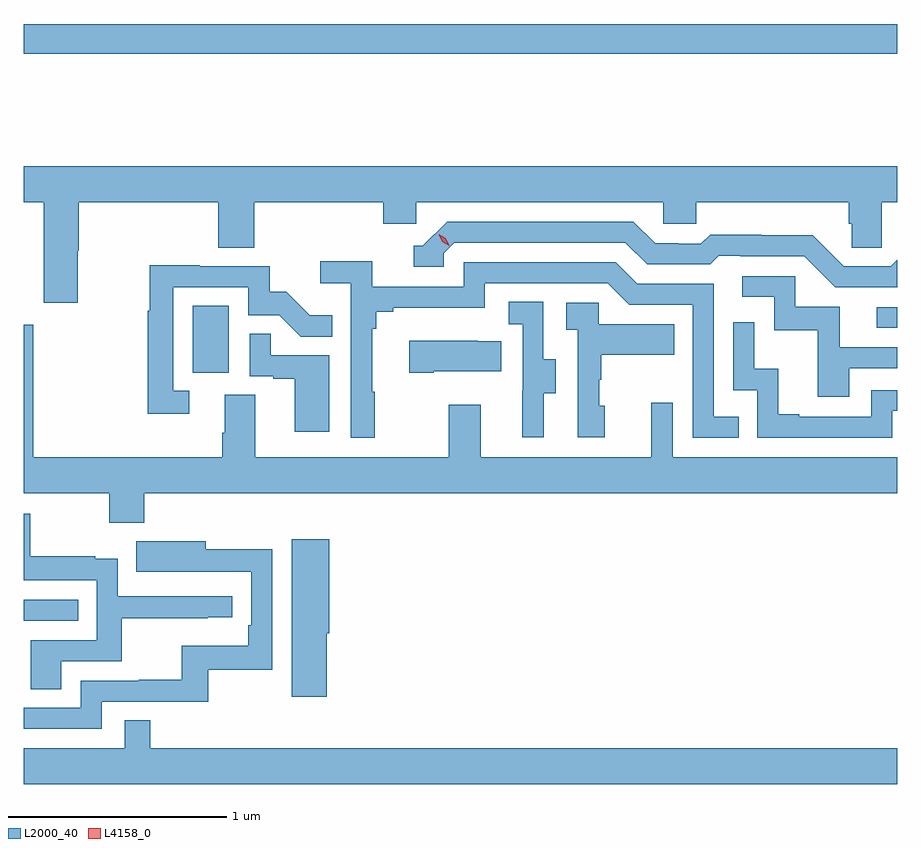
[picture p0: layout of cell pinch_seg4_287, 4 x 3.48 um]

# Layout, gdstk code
import gdstk
lib = gdstk.Library(unit=1e-6, precision=1e-09)
def R(c, l, rs):  # rectangles x0, y0, x1, y1
    for r in rs: c.add(gdstk.rectangle(r[:2], r[2:], *l))
def P(c, l, *ps):  # polygons
    for p in ps: c.add(gdstk.Polygon(p, *l))
L2000_40 = (2000, 40)
L4158_0 = (4158, 0)

pinch_seg4_287 = lib.new_cell('pinch_seg4_287')
R(pinch_seg4_287, L2000_40, [(937.55,808.224,937.799,808.32), (938.324,809.358,938.488,809.665), (941.457,809.565,941.55,809.658), (937.55,810.82,941.55,810.956)])
P(pinch_seg4_287, L2000_40, [(937.55,810.14),(937.642,810.14),(937.642,809.679),(937.797,809.679),(937.797,809.918),(937.802,809.918),(937.802,810.14),(938.441,810.14),(938.441,809.932),(938.606,809.932),(938.606,810.14),(939.197,810.14),(939.197,810.042),(939.348,810.042),(939.348,810.14),(940.479,810.14),(940.479,810.042),(940.629,810.042),(940.629,810.14),(941.327,810.14),(941.327,810.042),(941.341,810.042),(941.341,809.932),(941.478,809.932),(941.478,810.14),(941.55,810.14),(941.55,810.304),(937.55,810.304)],
  [(941.55,809.877),(941.52,809.847),(941.304,809.847),(941.162,809.989),(940.926,809.989),(940.926,809.992),(940.693,809.992),(940.651,809.949),(940.548,809.949),(940.548,809.952),(940.441,809.952),(940.342,810.051),(939.489,810.051),(939.378,809.94),(939.335,809.94),(939.335,809.844),(939.474,809.844),(939.474,809.907),(939.522,809.955),(940.305,809.955),(940.404,809.856),(940.693,809.856),(940.732,809.895),(940.831,809.895),(940.831,809.892),(941.124,809.892),(941.265,809.751),(941.55,809.751)],
  [(939.157,809.273),(939.145,809.273),(939.145,809.561),(939.164,809.561),(939.164,809.638),(939.241,809.638),(939.241,809.657),(939.66,809.657),(939.66,809.769),(940.224,809.769),(940.323,809.67),(940.614,809.67),(940.614,809.061),(940.823,809.061),(940.823,809.157),(940.71,809.157),(940.71,809.766),(940.36,809.766),(940.261,809.865),(939.564,809.865),(939.564,809.754),(939.146,809.754),(939.146,809.87),(938.907,809.87),(938.907,809.768),(939.048,809.768),(939.048,809.061),(939.157,809.061)],
  [(938.308,809.277),(938.235,809.277),(938.235,809.751),(938.577,809.751),(938.577,809.622),(938.721,809.622),(938.819,809.524),(938.963,809.524),(938.963,809.623),(938.859,809.623),(938.752,809.73),(938.676,809.73),(938.676,809.847),(938.357,809.847),(938.357,809.852),(938.127,809.852),(938.127,809.644),(938.119,809.644),(938.119,809.172),(938.308,809.172)],
  [(941.329,809.379),(941.55,809.379),(941.55,809.475),(941.287,809.475),(941.287,809.661),(941.082,809.661),(941.082,809.802),(940.839,809.802),(940.839,809.706),(940.986,809.706),(940.986,809.553),(941.185,809.553),(941.185,809.25),(941.329,809.25)],
  [(939.931,809.266),(939.985,809.266),(939.985,809.421),(939.93,809.421),(939.93,809.684),(939.771,809.684),(939.771,809.581),(939.834,809.581),(939.834,809.277),(939.833,809.277),(939.833,809.064),(939.931,809.064)],
  [(940.21,809.208),(940.185,809.208),(940.185,809.327),(940.195,809.327),(940.195,809.441),(940.529,809.441),(940.529,809.581),(940.182,809.581),(940.182,809.679),(940.035,809.679),(940.035,809.555),(940.086,809.555),(940.086,809.064),(940.21,809.064)],
  [(941.526,809.184),(941.55,809.184),(941.55,809.28),(941.43,809.28),(941.43,809.157),(941.101,809.157),(941.101,809.17),(941.006,809.17),(941.006,809.378),(940.896,809.378),(940.896,809.59),(940.8,809.59),(940.8,809.28),(940.908,809.28),(940.908,809.061),(941.526,809.061)],
  [(938.102,808.808),(941.55,808.808),(941.55,808.972),(940.521,808.972),(940.521,809.221),(940.424,809.221),(940.424,808.972),(939.643,808.972),(939.643,809.212),(939.496,809.212),(939.496,808.972),(938.611,808.972),(938.611,809.258),(938.471,809.258),(938.471,809.084),(938.459,809.084),(938.459,808.972),(937.594,808.972),(937.594,809.578),(937.55,809.578),(937.55,808.808),(937.942,808.808),(937.942,808.673),(938.102,808.673)],
  [(938.95,809.439),(938.681,809.439),(938.681,809.537),(938.586,809.537),(938.586,809.343),(938.693,809.343),(938.693,809.331),(938.792,809.331),(938.792,809.088),(938.95,809.088)],
  [(939.427,809.366),(939.737,809.366),(939.737,809.503),(939.629,809.503),(939.629,809.506),(939.315,809.506),(939.315,809.359),(939.427,809.359)],
  [(937.723,808.038),(938,808.038),(938,808.234),(938.393,808.234),(938.393,808.239),(938.506,808.239),(938.506,808.335),(937.98,808.335),(937.98,808.507),(937.877,808.507),(937.877,808.519),(937.579,808.519),(937.579,808.713),(937.55,808.713),(937.55,808.41),(937.884,808.41),(937.884,808.134),(937.583,808.134),(937.583,807.91),(937.723,807.91)],
  [(938.938,808.167),(938.95,808.167),(938.95,808.597),(938.777,808.597),(938.777,807.876),(938.938,807.876)],
  [(937.908,807.852),(938.395,807.852),(938.395,807.999),(938.688,807.999),(938.688,808.55),(938.383,808.55),(938.383,808.588),(938.065,808.588),(938.065,808.448),(938.279,808.448),(938.279,808.449),(938.592,808.449),(938.592,808.204),(938.579,808.204),(938.579,808.108),(938.274,808.108),(938.274,807.953),(938.077,807.953),(938.077,807.948),(937.812,807.948),(937.812,807.825),(937.55,807.825),(937.55,807.729),(937.908,807.729)],
  [(941.55,807.64),(938.129,807.64),(938.129,807.767),(938.013,807.767),(938.013,807.64),(937.55,807.64),(937.55,807.476),(941.55,807.476)])
P(pinch_seg4_287, L4158_0, [(939.498,809.941),(939.467,809.96),(939.451,809.993),(939.451,809.993),(939.451,809.993),(939.482,809.974),(939.498,809.941),(939.498,809.941)])

lib.write_gds('pinch_seg4_287.gds')
